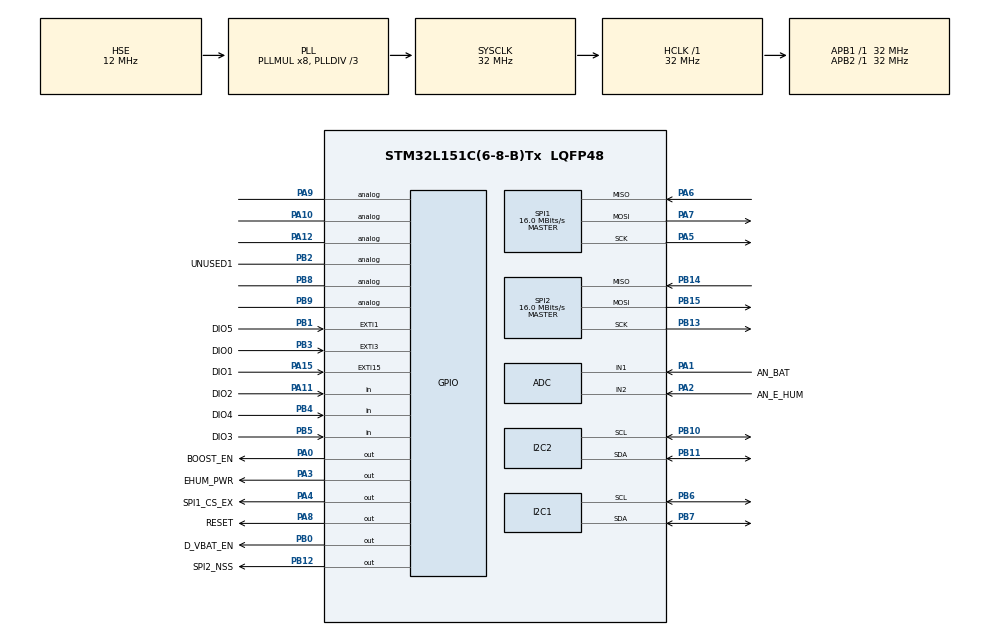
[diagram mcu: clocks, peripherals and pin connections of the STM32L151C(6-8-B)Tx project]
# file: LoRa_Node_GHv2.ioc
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ADC.Channel-0\#ChannelRegularConversion=ADC_CHANNEL_1
ADC.ContinuousConvMode=DISABLE
ADC.NbrOfConversion=1
ADC.NbrOfConversionFlag=1
ADC.Rank-0\#ChannelRegularConversion=1
ADC.SamplingTime-0\#ChannelRegularConversion=ADC_SAMPLETIME_4CYCLES
ADC.ScanConvMode=ADC_SCAN_DISABLE
Mcu.Family=STM32L1
Mcu.Name=STM32L151C(6-8-B)Tx
Mcu.Package=LQFP48
NVIC.ADC1_IRQn=true\:2\:0\:true\:false\:true\:true\:true\:true
NVIC.EXTI1_IRQn=true\:1\:0\:true\:false\:true\:true\:true\:true
NVIC.EXTI3_IRQn=true\:1\:0\:true\:false\:true\:true\:true\:true
NVIC.I2C1_ER_IRQn=true\:0\:0\:false\:false\:true\:true\:true\:true
NVIC.I2C1_EV_IRQn=true\:0\:0\:false\:false\:true\:true\:true\:true
NVIC.I2C2_EV_IRQn=true\:0\:0\:false\:false\:true\:true\:true\:true
NVIC.PriorityGroup=NVIC_PRIORITYGROUP_4
NVIC.RTC_Alarm_IRQn=true\:0\:0\:false\:false\:true\:true\:true\:true
NVIC.TIM2_IRQn=true\:0\:0\:false\:false\:true\:true\:true\:true
NVIC.TIM3_IRQn=true\:0\:0\:false\:false\:true\:true\:true\:true
PA0-WKUP1.GPIO_Label=BOOST_EN
PA0-WKUP1.GPIO_PuPd=GPIO_NOPULL
PA0-WKUP1.Signal=GPIO_Output
PA1.GPIO_Label=AN_BAT
PA1.Mode=IN1
PA1.Signal=ADC_IN1
PA10.Signal=GPIO_Analog
PA11.GPIO_Label=DIO2
PA11.GPIO_PuPd=GPIO_NOPULL
PA11.Signal=GPIO_Input
PA12.Signal=GPIO_Analog
PA13.Mode=Serial_Wire
PA13.Signal=SYS_JTMS-SWDIO
PA14.Mode=Serial_Wire
PA14.Signal=SYS_JTCK-SWCLK
PA15.GPIO_Label=DIO1
PA15.GPIO_PuPd=GPIO_NOPULL
PA15.Signal=GPXTI15
PA2.GPIO_Label=AN_E_HUM
PA2.Mode=IN2
PA2.Signal=ADC_IN2
PA3.GPIO_Label=EHUM_PWR
PA3.Signal=GPIO_Output
PA4.GPIO_Label=SPI1_CS_EX
PA4.PinState=GPIO_PIN_SET
PA4.Signal=GPIO_Output
PA5.Mode=Full_Duplex_Master
PA5.Signal=SPI1_SCK
PA6.Mode=Full_Duplex_Master
PA6.Signal=SPI1_MISO
PA7.Mode=Full_Duplex_Master
PA7.Signal=SPI1_MOSI
PA8.GPIO_Label=RESET
PA8.GPIO_PuPd=GPIO_NOPULL
PA8.Signal=GPIO_Output
PA9.Signal=GPIO_Analog
PB0.GPIO_Label=D_VBAT_EN
PB0.PinState=GPIO_PIN_SET
PB0.Signal=GPIO_Output
PB1.GPIO_Label=DIO5
PB1.GPIO_PuPd=GPIO_NOPULL
PB1.Signal=GPXTI1
PB10.Mode=I2C
PB10.Signal=I2C2_SCL
PB11.Mode=I2C
PB11.Signal=I2C2_SDA
PB12.GPIO_Label=SPI2_NSS
PB12.PinState=GPIO_PIN_SET
PB12.Signal=GPIO_Output
PB13.Mode=Full_Duplex_Master
PB13.Signal=SPI2_SCK
PB14.Mode=Full_Duplex_Master
PB14.Signal=SPI2_MISO
PB15.Mode=Full_Duplex_Master
PB15.Signal=SPI2_MOSI
PB2.GPIO_Label=UNUSED1
PB2.Signal=GPIO_Analog
PB3.GPIO_Label=DIO0
PB3.GPIO_PuPd=GPIO_NOPULL
PB3.Signal=GPXTI3
PB4.GPIO_Label=DIO4
PB4.GPIO_PuPd=GPIO_NOPULL
PB4.Signal=GPIO_Input
PB5.GPIO_Label=DIO3
PB5.GPIO_PuPd=GPIO_NOPULL
PB5.Signal=GPIO_Input
PB6.Mode=I2C
PB6.Signal=I2C1_SCL
PB7.Mode=I2C
PB7.Signal=I2C1_SDA
PB8.Signal=GPIO_Analog
PB9.Signal=GPIO_Analog
PC14-OSC32_IN.Mode=LSE-External-Oscillator
PC14-OSC32_IN.Signal=RCC_OSC32_IN
PC15-OSC32_OUT.Mode=LSE-External-Oscillator
PC15-OSC32_OUT.Signal=RCC_OSC32_OUT
PH0-OSC_IN.Mode=HSE-External-Oscillator
PH0-OSC_IN.Signal=RCC_OSC_IN
PH1-OSC_OUT.Mode=HSE-External-Oscillator
PH1-OSC_OUT.Signal=RCC_OSC_OUT
ProjectManager.HeapSize=0x200
ProjectManager.StackSize=0x400
ProjectManager.TargetToolchain=STM32CubeIDE
RCC.48MHZClocksFreq_Value=48000000
RCC.AHBFreq_Value=32000000
RCC.APB1Freq_Value=32000000
RCC.APB1TimFreq_Value=32000000
RCC.APB2Freq_Value=32000000
RCC.APB2TimFreq_Value=32000000
RCC.HCLKFreq_Value=32000000
RCC.HSE_VALUE=12000000
RCC.HSI_VALUE=16000000
RCC.MSI_VALUE=2097000
RCC.PLLDIV=RCC_PLL_DIV3
RCC.PLLMUL=RCC_PLL_MUL8
RCC.PLLSourceVirtual=RCC_PLLSOURCE_HSE
RCC.RTCClockSelection=RCC_RTCCLKSOURCE_LSE
RCC.RTCClockSelectionVirtual=RCC_RTCCLKSOURCE_LSE
RCC.SYSCLKFreq_VALUE=32000000
RCC.SYSCLKSource=RCC_SYSCLKSOURCE_PLLCLK
RCC.VCOOutputFreq_Value=96000000
RTC.Alarm-Alarm\ A=RTC_ALARM_A
RTC.Format=RTC_FORMAT_BIN
SPI1.BaudRatePrescaler=SPI_BAUDRATEPRESCALER_2
SPI1.CalculateBaudRate=16.0 MBits/s
SPI1.Direction=SPI_DIRECTION_2LINES
SPI1.Mode=SPI_MODE_MASTER
SPI1.VirtualType=VM_MASTER
SPI2.BaudRatePrescaler=SPI_BAUDRATEPRESCALER_2
SPI2.CalculateBaudRate=16.0 MBits/s
SPI2.Direction=SPI_DIRECTION_2LINES
SPI2.Mode=SPI_MODE_MASTER
SPI2.VirtualType=VM_MASTER
TIM2.Period=49999
TIM2.Prescaler=63
TIM3.Period=64515
TIM3.Prescaler=1983
VP_RTC_VS_RTC_Activate.Mode=RTC_Enabled
VP_RTC_VS_RTC_Alarm_A_Intern.Mode=Alarm A
VP_RTC_VS_RTC_Calendar.Mode=RTC_Calendar
VP_TIM2_VS_ClockSourceINT.Mode=Internal
VP_TIM3_VS_ClockSourceINT.Mode=Internal
board=custom

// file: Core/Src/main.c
/* USER CODE BEGIN Header */
/**
  ******************************************************************************
  * @file           : main.c
  * @brief          : Main program body
  ******************************************************************************
  * @attention
  *
  * Copyright (c) 2025 STMicroelectronics.
  * All rights reserved.
  *
  * This software is licensed under terms that can be found in the LICENSE file
  * in the root directory of this software component.
  * If no LICENSE file comes with this software, it is provided AS-IS.
  *
  ******************************************************************************
  */
/* USER CODE END Header */
#include "main.h"

/* USER CODE BEGIN Includes */

#ifdef USE_EEPROM
	#include "eeprom.h"
#else
	#include "flash.h"
#endif

/* USER CODE END Includes */

/* USER CODE BEGIN PD */

BME280 				bme280;
MEASUREMENTS 		measurements;
LORA_Data 			lora_data;
rfm95_handle_t 		rfm95_handle;

RTC_TimeTypeDef 	time;
RTC_DateTypeDef 	date;
RTC_AlarmTypeDef 	sAlarm;

/* USER CODE END PD */

ADC_HandleTypeDef hadc;

I2C_HandleTypeDef hi2c1;
I2C_HandleTypeDef hi2c2;

RTC_HandleTypeDef hrtc;

SPI_HandleTypeDef hspi1;
SPI_HandleTypeDef hspi2;

TIM_HandleTypeDef htim2;
TIM_HandleTypeDef htim3;

void SystemClock_Config(void);
static void MX_GPIO_Init(void);
static void MX_RTC_Init(void);
static void MX_SPI2_Init(void);
static void MX_I2C1_Init(void);
static void MX_I2C2_Init(void);
static void MX_SPI1_Init(void);
static void MX_ADC_Init(void);
static void MX_TIM2_Init(void);
static void MX_TIM3_Init(void);

/* USER CODE BEGIN 0 */

/* VARIABLES */
uint8_t awake = 1;				// Detect wake up event
uint8_t state = STATE_INIT;		// state value for state machine
volatile uint32_t tim3_tick_msb = 0;
volatile uint8_t adc_substate = 0; // 0 = battery next, 1 = soil humidity next

/* MY FUNCTIONS */
void RFM95W_Struct_Init(rfm95_handle_t* rfm95_handle);
static uint8_t random_int(uint8_t max);
static uint32_t get_precision_tick();
void wake_up_from_standby_handler(void);
void HAL_RTC_AlarmAEventCallback(RTC_HandleTypeDef *hrtc);
static void ADC_SelectChannel(uint32_t channel);

/* USER CODE END 0 */

int main(void)
{

  /* MCU Configuration--------------------------------------------------------*/

  /* Reset of all peripherals, Initializes the Flash interface and the Systick. */
  HAL_Init();

  /* Configure the system clock */
  SystemClock_Config();

  /* Initialize all configured peripherals */
  MX_GPIO_Init();
  MX_RTC_Init();
  MX_SPI2_Init();
  MX_I2C1_Init();
  MX_I2C2_Init();
  MX_SPI1_Init();
  MX_ADC_Init();
  MX_TIM2_Init();
  MX_TIM3_Init();
  /* USER CODE BEGIN 2 */

  float delta = 100.0f / (EARTH_HUM_DRY_VAL -  EARTH_HUM_WET_VAL); // Precalculated value
  uint8_t status = 0;
  uint32_t tx_count = 0; // Read number of TX packets from flash

  // Check if the MCU woke up from Standby mode - not mainly used -> not completely tested //
//  	#ifndef SLEEP_MODE_STOP
//  	  if (__HAL_PWR_GET_FLAG(PWR_FLAG_SB)) // Standby flag is set
//  		  {
//  			  // Clear the Standby flag
//  			  __HAL_PWR_CLEAR_FLAG(PWR_FLAG_SB);
//
//  			  // Check if RTC Alarm A triggered the wake-up
//  			  if (__HAL_RTC_ALARM_GET_FLAG(&hrtc, RTC_FLAG_ALRAF) != RESET)
//  			  {
//  				  // Clear the RTC Alarm A flag
//  				  __HAL_RTC_ALARM_CLEAR_FLAG(&hrtc, RTC_FLAG_ALRAF);
//
//  				  // Perform wake-up logic
//  				  wake_up_from_standby_handler();
//  			  }
//  		  }
//  	#endif

  /* USER CODE END 2 */

  /* Infinite loop */
  /* USER CODE BEGIN WHILE */
  while (1)
  {
	  /* MAIN STATE MACHINE */
	  switch(state)
	  {

	  ////////* DEVICE BOOT *////////
	  case STATE_INIT:

		  if (measurements.ADC_read_cnt == 0 && measurements.init_end == 0)
		  {
			  /* BME280 */
			  status += BME280_Reset(&bme280, &hi2c2);
			  HAL_Delay(200);
			  status += BME280_ReadDeviceID(&bme280, &hi2c2);
			  status += BME280_ReadCalibData(&bme280, &hi2c2);
			  status += BME280_Init(&bme280, &hi2c2);

			  // Enable power to humidity probe and to voltage divider for battery measurement
			  HAL_GPIO_WritePin(EHUM_PWR_GPIO_Port, EHUM_PWR_Pin, GPIO_PIN_SET);
			  HAL_GPIO_WritePin(D_VBAT_EN_GPIO_Port, D_VBAT_EN_Pin, GPIO_PIN_RESET);
			  HAL_Delay(100);

			  // Set some pins
			  HAL_GPIO_WritePin(SPI1_CS_EX_GPIO_Port, SPI1_CS_EX_Pin, GPIO_PIN_SET);
			  HAL_GPIO_WritePin(SPI2_NSS_GPIO_Port, SPI2_NSS_Pin, GPIO_PIN_SET);

			  // Disable RTC alarm for init routine
			  __HAL_RTC_ALARM_CLEAR_FLAG(&hrtc, RTC_FLAG_ALRAF);
			  HAL_RTC_DeactivateAlarm(&hrtc, RTC_ALARM_A);

			  HAL_TIM_Base_Start_IT(&htim2);
			  HAL_TIM_Base_Start_IT(&htim3);

			  measurements.init_end = 1;	// Signal init complete
		  }

		  if (measurements.ADC_read_end == 1 && measurements.ADC_read == 1)
		  {
			  // Read analog values
			  measurements.bat_voltage[measurements.ADC_read_cnt] = ADC_Read_Battery(&measurements.ADC_values[0]);
			  measurements.earth_hum[measurements.ADC_read_cnt] = ADC_Read_EHum(&measurements.ADC_values[1], &delta);
			  measurements.ADC_read_cnt ++;

			  measurements.ADC_read_end = 0; 	// reset ADC read flag
			  measurements.ADC_read = 0; 		// reset timer read flag
			  HAL_TIM_Base_Start_IT(&htim2);

			  // Calculate average values
			  if (measurements.ADC_read_cnt == 5)
			  {
				  measurements.ADC_read_cnt = 0;
				  HAL_TIM_Base_Stop_IT(&htim2);

				  // Disable power to humidity probe and to voltage divider for battery measurement
				  HAL_GPIO_WritePin(EHUM_PWR_GPIO_Port, EHUM_PWR_Pin, GPIO_PIN_RESET);
				  HAL_GPIO_WritePin(D_VBAT_EN_GPIO_Port, D_VBAT_EN_Pin, GPIO_PIN_SET);

				  // Calculate average battery voltage
				  measurements.battery_voltage = 0;
				  measurements.earth_humidity = 0;

				  for (int i = 0; i < 5; i++)
				  {
					  measurements.battery_voltage += measurements.bat_voltage[i];
					  measurements.earth_humidity += measurements.earth_hum[i];
				  }

				  measurements.battery_voltage /= 5;
				  measurements.earth_humidity /= 5;

				  // Read all data from BME280 sensor
				  BME280_GoToFromSleep(&bme280, &hi2c2, 1); // wake-up
				  HAL_Delay(100);
				  BME280_ReadAllData(&bme280, &hi2c2);
				  //BME280_GoToFromSleep(&bme280, &hi2c2, 0); // sleep

				  // LoRa module
				  RFM95W_Struct_Init(&rfm95_handle);

				  // Initialise RFM95 module.
				  if (!rfm95_init(&rfm95_handle)) status++;

				  // All that flags must be cleard to get stable boot
				  NVIC_ClearPendingIRQ(EXTI1_IRQn); 		// Clear EXTI1 NVIC pending flag
				  NVIC_ClearPendingIRQ(EXTI3_IRQn); 		// Clear EXTI3 NVIC pending
				  NVIC_ClearPendingIRQ(EXTI15_10_IRQn); 	// Clear EXTI15_10 NVIC pending flag
				  HAL_NVIC_EnableIRQ(EXTI3_IRQn);
				  HAL_NVIC_EnableIRQ(EXTI1_IRQn);
				  //HAL_NVIC_EnableIRQ(EXTI15_10_IRQn); 	// Bricks the program, inturrupt is not needed -> only for RX

				  // Check if everthing is OK (voltage and sensors)
				  if (measurements.battery_voltage < 2.8f) status++; //Vbat NEEDS TO BE SET

				  lora_data.errSendCnt += status;

				  if (status == 0)
				  {
					  //state = STATE_FIRST_CONN;
					  state = STATE_SEND;
					  status = 0;
					  lora_data.errSendCnt = 0;
				  }
				  else
				  {
					  //state = STATE_ERROR;
					  state = STATE_GO_SLEEP;
				  }
			  }
		  }

		  break;

	  ////////* FIRST LoRa/SIM CONNECTION TEST *////////
	  case STATE_FIRST_CONN:

		  // Create data packet that will be send - dummy
		  uint8_t test_data_packet[] = {0x01, 0x02, 0x03, 0x04};

		#ifdef USE_EEPROM
		  EEPROM_Read_Data(FLASH_EEPROM_BASE, &tx_count, 1);
		#else
		  Flash_Read_Data(FLASH_START_ADDR, &tx_count, 1); // 1 = one word
		#endif

		  rfm95_handle.config.tx_frame_count = tx_count;

		  if (!rfm95_send_receive_cycle(&rfm95_handle, test_data_packet, sizeof(test_data_packet)))
		  {
			  // Put device in error state
			  state = STATE_ERROR;
		  }
		  else
		  {
			  // Write number of TX packets to flash
			  uint32_t temp_data = (uint32_t)rfm95_handle.config.tx_frame_count;

			#ifdef USE_EEPROM
			  EEPROM_Write_Data(FLASH_EEPROM_BASE, &temp_data, 1);
			#else
			  Flash_Write_Data(FLASH_START_ADDR, &temp_data, 1); // 1 = one word
			#endif

			  // Put device in sleep
			  state = STATE_GO_SLEEP;

			  // Send data packet
			  //state = STATE_SEND;
		  }

		  break;

	  ////////* DEVICE WAKEUP ROUTINE *////////
	  case STATE_RUN:

		  // Start all clocks
		  if (awake == 1)
		  {
			  awake = 0;
			  SystemClock_Config();
			  HAL_ResumeTick();

			  // Reset wake up flag
			  __HAL_RTC_ALARM_CLEAR_FLAG(&hrtc, RTC_FLAG_ALRAF);
			  HAL_RTC_DeactivateAlarm(&hrtc, RTC_ALARM_A);

			  HAL_TIM_Base_Init(&htim2);
			  HAL_TIM_Base_Init(&htim3);
			  HAL_NVIC_EnableIRQ(TIM2_IRQn); 	// Disable Timer 2 interrupt
			  HAL_NVIC_EnableIRQ(TIM3_IRQn); 	// Disable Timer 3 interrupt

			  // Enable power to humidity probe and to voltage divider for battery measurement
			  HAL_GPIO_WritePin(EHUM_PWR_GPIO_Port, EHUM_PWR_Pin, GPIO_PIN_SET);
			  if (measurements.bat_period_counter >= READ_VBAT_PERIOD) HAL_GPIO_WritePin(D_VBAT_EN_GPIO_Port, D_VBAT_EN_Pin, GPIO_PIN_SET);
			  HAL_Delay(100);

			  HAL_ADC_Init(&hadc);
			  HAL_ADC_Start(&hadc);

		  }

		  if (measurements.ADC_read_cnt == 0)
		  {
			  /* BME280 */
			#ifndef SLEEP_MODE_STOP
			  status += BME280_Reset(&bme280, &hi2c2);
			  HAL_Delay(200);
			  status += BME280_ReadDeviceID(&bme280, &hi2c2);
			  status += BME280_ReadCalibData(&bme280, &hi2c2);
			  status += BME280_Init(&bme280, &hi2c2);
			#endif

			  HAL_TIM_Base_Start_IT(&htim2);
			  HAL_TIM_Base_Start_IT(&htim3);
		  }

		  if (measurements.ADC_read_end == 1 && measurements.ADC_read == 1)
		  {
			  // Read analog values
			  if (measurements.bat_period_counter >= READ_VBAT_PERIOD) measurements.bat_voltage[measurements.ADC_read_cnt] = ADC_Read_Battery(&measurements.ADC_values[0]);
			  measurements.earth_hum[measurements.ADC_read_cnt] = ADC_Read_EHum(&measurements.ADC_values[1], &delta);
			  measurements.ADC_read_cnt ++;

			  measurements.ADC_read_end = 0; 		// reset ADC read flag
			  measurements.ADC_read = 0; 			// reset timer read flag
			  HAL_TIM_Base_Start_IT(&htim2);

			  // Calculate average values
			  if (measurements.ADC_read_cnt == 5)
			  {
				  measurements.ADC_read_cnt = 0;
				  HAL_TIM_Base_Stop_IT(&htim2);

				  // Disable power to humidity probe and to voltage divider for battery measurement
				  HAL_GPIO_WritePin(EHUM_PWR_GPIO_Port, EHUM_PWR_Pin, GPIO_PIN_RESET);
				  if (measurements.bat_period_counter >= READ_VBAT_PERIOD) HAL_GPIO_WritePin(D_VBAT_EN_GPIO_Port, D_VBAT_EN_Pin, GPIO_PIN_RESET);

				  /* Calculate average battery voltage */

				  // Reset values
				  if (measurements.bat_period_counter >= READ_VBAT_PERIOD) measurements.battery_voltage = 0; // Between reads keep the same voltage
				  measurements.earth_humidity = 0;

				  // Sum the measured values
				  for (int i = 0; i < 5; i++)
				  {
					  if (measurements.bat_period_counter >= READ_VBAT_PERIOD) measurements.battery_voltage += measurements.bat_voltage[i];
					  measurements.earth_humidity += measurements.earth_hum[i];
				  }

				  // Calculate average value
				  if (measurements.bat_period_counter >= READ_VBAT_PERIOD) measurements.battery_voltage /= 5;
				  measurements.earth_humidity /= 5;

				  if (measurements.bat_period_counter >= READ_VBAT_PERIOD) measurements.bat_period_counter = 0; // Reset hour counter for battery measurement

				  // Read all data from BME280 sensor
				  BME280_GoToFromSleep(&bme280, &hi2c2, 1); // wake-up
				  HAL_Delay(100);
				  BME280_ReadAllData(&bme280, &hi2c2);
				  //BME280_GoToFromSleep(&bme280, &hi2c2, 0); // sleep

				  // LoRa module
				#ifndef SLEEP_MODE_STOP
				  RFM95W_Struct_Init(&rfm95_handle);

				  // Initialise RFM95 module.
				  if (!rfm95_init(&rfm95_handle)) status += 10; // Increase error counter for 10 to detect LoRa error (data can't be send)

				  // All that flags must be cleard to get stable boot
				  NVIC_ClearPendingIRQ(EXTI1_IRQn); 		// Clear EXTI1 NVIC pending flag
				  NVIC_ClearPendingIRQ(EXTI3_IRQn); 		// Clear EXTI3 NVIC pending
				  NVIC_ClearPendingIRQ(EXTI15_10_IRQn); 	// Clear EXTI15_10 NVIC pending flag
				  __HAL_GPIO_EXTI_CLEAR_IT(DIO0_Pin);
				  __HAL_GPIO_EXTI_CLEAR_IT(DIO5_Pin);
				  HAL_NVIC_EnableIRQ(EXTI3_IRQn);
				  HAL_NVIC_EnableIRQ(EXTI1_IRQn);
				  //HAL_NVIC_EnableIRQ(EXTI15_10_IRQn); 	// Bricks the program, inturrupt is not needed -> only for RX
				#endif

				  // Check if everthing is OK (voltage and sensors)
				  if (measurements.battery_voltage < VBAT_CRYTHICAL) status++; // TODO Vbat NEED TO BE SET

				  lora_data.errSendCnt += status;

				  if (status < 10)
				  {
					  state = STATE_SEND;
				  }
				  else
				  {
					  state = STATE_ERROR;
				  }
			  }
		  }

		  break;

	  ////////* SEND DATA *////////
	  case STATE_SEND:

		  // Collect and change data for sending
		  if (lora_data.errSendCnt > 0) lora_data.error = 1;					// Flag if device is in error
		  lora_data.battery = (uint8_t)(measurements.battery_voltage * 10);		// Battery voltage [3.5V -> 35V, no float]
		  lora_data.air_temperature = (int32_t)(bme280.Temp_C);					// Air temperature [test for negative value]
		  lora_data.air_humidity = (uint8_t)(bme280.Hum_Perc);					// Air humidity in percents [0-100%]
		  lora_data.air_pressure = (uint32_t)(bme280.Press_Pa);					// Air pressure [saved in two uint8_t]
		  lora_data.earth_humudity = (uint8_t)(measurements.earth_humidity);	// Humidity value of earth in percents [0-100%]

		  // Data packet that will be send (modify if needed)
		  uint8_t data_packet[14];

		  data_packet[0] = DEVICE_ID;                              // Device ID number
		  data_packet[1] = lora_data.error;                        // Error flag
		  data_packet[2] = lora_data.errSendCnt;                   // No. of errors
		  data_packet[3] = lora_data.battery;                      // battery voltage

		  // Encode air_temperature (int32_t -> 4 bytes)
		  data_packet[4] = (uint8_t)(lora_data.air_temperature & 0xFF);
		  data_packet[5] = (uint8_t)((lora_data.air_temperature >> 8) & 0xFF);
		  data_packet[6] = (uint8_t)((lora_data.air_temperature >> 16) & 0xFF);
		  data_packet[7] = (uint8_t)((lora_data.air_temperature >> 24) & 0xFF);

		  // Encode air_humidity
		  data_packet[8] = lora_data.air_humidity;

		  // Encode air_pressure (uint32_t -> 4 bytes)
		  data_packet[9] = (uint8_t)(lora_data.air_pressure & 0xFF);
		  data_packet[10] = (uint8_t)((lora_data.air_pressure >> 8) & 0xFF);
		  data_packet[11] = (uint8_t)((lora_data.air_pressure >> 16) & 0xFF);
		  data_packet[12] = (uint8_t)((lora_data.air_pressure >> 24) & 0xFF);

		  // Encode earth_humidity
		  data_packet[13] = lora_data.earth_humudity;

		  // Read number of TX packets from flash
		#ifdef USE_EEPROM
		  EEPROM_Read_Data(FLASH_EEPROM_BASE, &tx_count, 1); // Read from eeprom
		#else
		  Flash_Read_Data(FLASH_START_ADDR, &tx_count, 1); // Read from flash 1 = one word
		#endif

		  rfm95_handle.config.tx_frame_count = tx_count;

		  status = rfm95_send_receive_cycle(&rfm95_handle, data_packet, sizeof(data_packet));

		  if (!status) // test_data_packet
		  {
			  lora_data.errSendCnt++; // Not used
			  state = STATE_GO_SLEEP;
		  }
		  else
		  {
			  // Write number of TX packets to flash
			  uint32_t temp_data = (uint32_t)rfm95_handle.config.tx_frame_count;

			#ifdef USE_EEPROM
			  EEPROM_Write_Data(FLASH_EEPROM_BASE, &temp_data, 1);	// Write to eeprom
			#else
			  Flash_Write_Data(FLASH_START_ADDR, &temp_data, 1); 	// Write to flash 1 = one word
			#endif

			  state = STATE_GO_SLEEP;
		  }

		  // Reset error counter
		  status = 0;
		  lora_data.errSendCnt = 0;

		  break;

	  ////////* PUT DEVICE TO SLEEP *////////
	  case STATE_GO_SLEEP:

		  HAL_RTC_GetTime(&hrtc, &time, RTC_FORMAT_BIN);
		  HAL_RTC_GetDate(&hrtc, &date, RTC_FORMAT_BIN);

		  // Based on defines select sleep period
		#ifdef SLEEP_PERIOD_TEST
		  time.Seconds += 10;
		#endif

		#ifdef SLEEP_PERIOD_ONE_MINUTE
		  time.Minutes += 1;
		#endif

		#ifdef SLEEP_PERIOD_15_MINUTES
		  time.Minutes += 15;
		#endif

		#ifdef SLEEP_PERIOD_HALF_HOUR
		  time.Minutes += 30;
		#endif

		#ifdef SLEEP_PERIOD_ONE_HOUR
		  time.Hours += 1;
		#endif

		#ifdef SLEEP_PERIOD_CUSTOM
		  time.Minutes += SLEEP_PERIOD_CUSTOM;
		#endif

		  if(time.Seconds >= 60)
		  {
			  time.Minutes ++;
			  time.Seconds = 0;
		  }

		  if(time.Minutes >= 60)
		  {
			  time.Hours++;
			  time.Minutes = 0;
		  }

		  if(time.Hours > 23)
		  {
			  time.Hours = 0;
		  }

		  sAlarm.Alarm 					= RTC_ALARM_A;
		  sAlarm.AlarmTime.Hours 		= time.Hours;
		  sAlarm.AlarmTime.Minutes 		= time.Minutes;
		  sAlarm.AlarmTime.Seconds 		= time.Seconds;
		  sAlarm.AlarmMask            	= RTC_ALARMMASK_DATEWEEKDAY; 	// ignore date
		  sAlarm.AlarmDateWeekDaySel  	= RTC_ALARMDATEWEEKDAYSEL_DATE;
		  sAlarm.AlarmDateWeekDay     	= 1;                           	// don’t care
		  sAlarm.Alarm                	= RTC_ALARM_A;

		  HAL_RTC_DeactivateAlarm(&hrtc, RTC_ALARM_A);

		  __HAL_PWR_CLEAR_FLAG(PWR_FLAG_WU);
		  __HAL_RTC_ALARM_CLEAR_FLAG(&hrtc, RTC_FLAG_ALRAF);
		  if (HAL_RTC_SetAlarm_IT(&hrtc, &sAlarm, RTC_FORMAT_BIN) != HAL_OK) Error_Handler();

		  HAL_NVIC_SetPriority(RTC_Alarm_IRQn, 0, 0);
		  HAL_NVIC_EnableIRQ(RTC_Alarm_IRQn);

		  // Put devices and sensors to sleep
		  rfm95_goto_sleep(&rfm95_handle); // If the module is not in sleep mode (it should be)
		  BME280_GoToFromSleep(&bme280, &hi2c2, 0); // If the sensor is not in sleep mode (it should be)

		  // Disable power to humidity probe and to voltage divider for battery measurement
		  HAL_GPIO_WritePin(EHUM_PWR_GPIO_Port, EHUM_PWR_Pin, GPIO_PIN_RESET);
		  HAL_GPIO_WritePin(D_VBAT_EN_GPIO_Port, D_VBAT_EN_Pin, GPIO_PIN_SET);

		  // Set SPI CS pins
		  HAL_GPIO_WritePin(SPI1_CS_EX_GPIO_Port, SPI1_CS_EX_Pin, GPIO_PIN_SET);
		  HAL_GPIO_WritePin(SPI2_NSS_GPIO_Port, SPI2_NSS_Pin, GPIO_PIN_SET);

		  // Stop Timers if they running and disable their interrupts
		  HAL_TIM_Base_Stop_IT(&htim2); // Stop Timer 2
		  HAL_TIM_Base_Stop_IT(&htim3); // Stop Timer 3
		  HAL_NVIC_DisableIRQ(TIM2_IRQn); // Disable Timer 2 interrupt
		  HAL_NVIC_DisableIRQ(TIM3_IRQn); // Disable Timer 3 interrupt

		  HAL_ADC_Stop(&hadc);
		  HAL_ADC_DeInit(&hadc);

		  // Disable IRQs from LoRa module
		  HAL_NVIC_DisableIRQ(EXTI1_IRQn);
		  HAL_NVIC_DisableIRQ(EXTI3_IRQn);
		  NVIC_ClearPendingIRQ(EXTI1_IRQn);
		  NVIC_ClearPendingIRQ(EXTI3_IRQn);
		  __HAL_GPIO_EXTI_CLEAR_IT(DIO0_Pin);
		  __HAL_GPIO_EXTI_CLEAR_IT(DIO5_Pin);

		  // Reconfigure to analog (or input with pull-down) for sleep
		  GPIO_InitTypeDef g = {0};
		  g.Mode = GPIO_MODE_ANALOG;
		  g.Pull = GPIO_NOPULL;
		  g.Speed = GPIO_SPEED_FREQ_LOW;
		  g.Pin = DIO0_Pin | DIO5_Pin;
		  HAL_GPIO_Init(GPIOB, &g);

		  //HAL_SPI_DeInit(&hspi1);
		  //HAL_SPI_DeInit(&hspi2);
		  //HAL_I2C_DeInit(&hi2c1);
		  //HAL_I2C_DeInit(&hi2c2);
		  //HAL_UART_DeInit(&huart1);

		  HAL_PWREx_EnableUltraLowPower();
		  HAL_PWREx_DisableFastWakeUp();
		  HAL_PWR_DisablePVD();
		  HAL_PWR_DisableWakeUpPin(PWR_WAKEUP_PIN1);

		  // Set sleep mode
		#ifdef SLEEP_MODE_STOP
		  SET_BIT(FLASH->ACR, FLASH_ACR_SLEEP_PD);

		  HAL_PWREx_EnableUltraLowPower();
		  HAL_PWREx_DisableFastWakeUp();
		  HAL_PWR_DisablePVD();

		  HAL_DBGMCU_DisableDBGStopMode();
		  HAL_PWR_EnterSTOPMode(PWR_LOWPOWERREGULATOR_ON, PWR_STOPENTRY_WFI); // PWR_MAINREGULATOR_ON

		#endif

		#ifndef SLEEP_MODE_STOP
		  HAL_DBGMCU_DisableDBGStandbyMode();
		  HAL_PWR_EnterSTANDBYMode();
		#endif

		  // Resume clock and ticks
		  SystemClock_Config();
		  HAL_ResumeTick();

		  // Reset wake up flag
		  HAL_RTC_DeactivateAlarm(&hrtc, RTC_ALARM_A);
		  __HAL_RTC_ALARM_CLEAR_FLAG(&hrtc, RTC_FLAG_ALRAF);

		  break;

	  case STATE_ERROR:

		  ////////* INIT ROUTINE FAILED *////////

		  break;

	  default:

		  ////////* UNDEFINED STATE *////////

		  break;

	  }
    /* USER CODE END WHILE */

  }
}

void SystemClock_Config(void)
{
  RCC_OscInitTypeDef RCC_OscInitStruct = {0};
  RCC_ClkInitTypeDef RCC_ClkInitStruct = {0};
  RCC_PeriphCLKInitTypeDef PeriphClkInit = {0};

  /** Configure the main internal regulator output voltage
  */
  __HAL_PWR_VOLTAGESCALING_CONFIG(PWR_REGULATOR_VOLTAGE_SCALE1);

  /** Initializes the RCC Oscillators according to the specified parameters
  * in the RCC_OscInitTypeDef structure.
  */
  RCC_OscInitStruct.OscillatorType = RCC_OSCILLATORTYPE_HSI|RCC_OSCILLATORTYPE_HSE
                              |RCC_OSCILLATORTYPE_LSE;
  RCC_OscInitStruct.HSEState = RCC_HSE_ON;
  RCC_OscInitStruct.LSEState = RCC_LSE_ON;
  RCC_OscInitStruct.HSIState = RCC_HSI_ON;
  RCC_OscInitStruct.HSICalibrationValue = RCC_HSICALIBRATION_DEFAULT;
  RCC_OscInitStruct.PLL.PLLState = RCC_PLL_ON;
  RCC_OscInitStruct.PLL.PLLSource = RCC_PLLSOURCE_HSE;
  RCC_OscInitStruct.PLL.PLLMUL = RCC_PLL_MUL8;
  RCC_OscInitStruct.PLL.PLLDIV = RCC_PLL_DIV3;
  if (HAL_RCC_OscConfig(&RCC_OscInitStruct) != HAL_OK)
  {
    Error_Handler();
  }

  /** Initializes the CPU, AHB and APB buses clocks
  */
  RCC_ClkInitStruct.ClockType = RCC_CLOCKTYPE_HCLK|RCC_CLOCKTYPE_SYSCLK
                              |RCC_CLOCKTYPE_PCLK1|RCC_CLOCKTYPE_PCLK2;
  RCC_ClkInitStruct.SYSCLKSource = RCC_SYSCLKSOURCE_PLLCLK;
  RCC_ClkInitStruct.AHBCLKDivider = RCC_SYSCLK_DIV1;
  RCC_ClkInitStruct.APB1CLKDivider = RCC_HCLK_DIV1;
  RCC_ClkInitStruct.APB2CLKDivider = RCC_HCLK_DIV1;

  if (HAL_RCC_ClockConfig(&RCC_ClkInitStruct, FLASH_LATENCY_1) != HAL_OK)
  {
    Error_Handler();
  }
  PeriphClkInit.PeriphClockSelection = RCC_PERIPHCLK_RTC;
  PeriphClkInit.RTCClockSelection = RCC_RTCCLKSOURCE_LSE;
  if (HAL_RCCEx_PeriphCLKConfig(&PeriphClkInit) != HAL_OK)
  {
    Error_Handler();
  }
}

static void MX_ADC_Init(void)
{

  ADC_ChannelConfTypeDef sConfig = {0};

  /** Configure the global features of the ADC (Clock, Resolution, Data Alignment and number of conversion)
  */
  hadc.Instance = ADC1;
  hadc.Init.ClockPrescaler = ADC_CLOCK_ASYNC_DIV1;
  hadc.Init.Resolution = ADC_RESOLUTION_12B;
  hadc.Init.DataAlign = ADC_DATAALIGN_RIGHT;
  hadc.Init.ScanConvMode = ADC_SCAN_DISABLE;
  hadc.Init.EOCSelection = ADC_EOC_SEQ_CONV;
  hadc.Init.LowPowerAutoWait = ADC_AUTOWAIT_DISABLE;
  hadc.Init.LowPowerAutoPowerOff = ADC_AUTOPOWEROFF_DISABLE;
  hadc.Init.ChannelsBank = ADC_CHANNELS_BANK_A;
  hadc.Init.ContinuousConvMode = DISABLE;
  hadc.Init.NbrOfConversion = 1;
  hadc.Init.DiscontinuousConvMode = DISABLE;
  hadc.Init.ExternalTrigConv = ADC_SOFTWARE_START;
  hadc.Init.ExternalTrigConvEdge = ADC_EXTERNALTRIGCONVEDGE_NONE;
  hadc.Init.DMAContinuousRequests = DISABLE;
  if (HAL_ADC_Init(&hadc) != HAL_OK)
  {
    Error_Handler();
  }

  /** Configure for the selected ADC regular channel its corresponding rank in the sequencer and its sample time.
  */
  sConfig.Channel = ADC_CHANNEL_1;
  sConfig.Rank = ADC_REGULAR_RANK_1;
  sConfig.SamplingTime = ADC_SAMPLETIME_4CYCLES;
  if (HAL_ADC_ConfigChannel(&hadc, &sConfig) != HAL_OK)
  {
    Error_Handler();
  }

}

static void MX_I2C1_Init(void)
{

  hi2c1.Instance = I2C1;
  hi2c1.Init.ClockSpeed = 100000;
  hi2c1.Init.DutyCycle = I2C_DUTYCYCLE_2;
  hi2c1.Init.OwnAddress1 = 0;
  hi2c1.Init.AddressingMode = I2C_ADDRESSINGMODE_7BIT;
  hi2c1.Init.DualAddressMode = I2C_DUALADDRESS_DISABLE;
  hi2c1.Init.OwnAddress2 = 0;
  hi2c1.Init.GeneralCallMode = I2C_GENERALCALL_DISABLE;
  hi2c1.Init.NoStretchMode = I2C_NOSTRETCH_DISABLE;
  if (HAL_I2C_Init(&hi2c1) != HAL_OK)
  {
    Error_Handler();
  }

}

static void MX_I2C2_Init(void)
{

  hi2c2.Instance = I2C2;
  hi2c2.Init.ClockSpeed = 100000;
  hi2c2.Init.DutyCycle = I2C_DUTYCYCLE_2;
  hi2c2.Init.OwnAddress1 = 0;
  hi2c2.Init.AddressingMode = I2C_ADDRESSINGMODE_7BIT;
  hi2c2.Init.DualAddressMode = I2C_DUALADDRESS_DISABLE;
  hi2c2.Init.OwnAddress2 = 0;
  hi2c2.Init.GeneralCallMode = I2C_GENERALCALL_DISABLE;
  hi2c2.Init.NoStretchMode = I2C_NOSTRETCH_DISABLE;
  if (HAL_I2C_Init(&hi2c2) != HAL_OK)
  {
    Error_Handler();
  }

}

static void MX_RTC_Init(void)
{

  RTC_TimeTypeDef sTime = {0};
  RTC_DateTypeDef sDate = {0};
  RTC_AlarmTypeDef sAlarm = {0};

  /** Initialize RTC Only
  */
  hrtc.Instance = RTC;
  hrtc.Init.HourFormat = RTC_HOURFORMAT_24;
  hrtc.Init.AsynchPrediv = 127;
  hrtc.Init.SynchPrediv = 255;
  hrtc.Init.OutPut = RTC_OUTPUT_DISABLE;
  hrtc.Init.OutPutPolarity = RTC_OUTPUT_POLARITY_HIGH;
  hrtc.Init.OutPutType = RTC_OUTPUT_TYPE_OPENDRAIN;
  if (HAL_RTC_Init(&hrtc) != HAL_OK)
  {
    Error_Handler();
  }

  /** Initialize RTC and set the Time and Date
  */
  sTime.Hours = 0;
  sTime.Minutes = 0;
  sTime.Seconds = 0;
  sTime.DayLightSaving = RTC_DAYLIGHTSAVING_NONE;
  sTime.StoreOperation = RTC_STOREOPERATION_RESET;
  if (HAL_RTC_SetTime(&hrtc, &sTime, RTC_FORMAT_BIN) != HAL_OK)
  {
    Error_Handler();
  }
  sDate.WeekDay = RTC_WEEKDAY_MONDAY;
  sDate.Month = RTC_MONTH_JANUARY;
  sDate.Date = 1;
  sDate.Year = 0;

  if (HAL_RTC_SetDate(&hrtc, &sDate, RTC_FORMAT_BIN) != HAL_OK)
  {
    Error_Handler();
  }

  /** Enable the Alarm A
  */
  sAlarm.AlarmTime.Hours = 0;
  sAlarm.AlarmTime.Minutes = 0;
  sAlarm.AlarmTime.Seconds = 0;
  sAlarm.AlarmTime.DayLightSaving = RTC_DAYLIGHTSAVING_NONE;
  sAlarm.AlarmTime.StoreOperation = RTC_STOREOPERATION_RESET;
  sAlarm.AlarmMask = RTC_ALARMMASK_NONE;
  sAlarm.AlarmDateWeekDaySel = RTC_ALARMDATEWEEKDAYSEL_DATE;
  sAlarm.AlarmDateWeekDay = 1;
  sAlarm.Alarm = RTC_ALARM_A;
  if (HAL_RTC_SetAlarm_IT(&hrtc, &sAlarm, RTC_FORMAT_BIN) != HAL_OK)
  {
    Error_Handler();
  }

}

static void MX_SPI1_Init(void)
{

  /* SPI1 parameter configuration*/
  hspi1.Instance = SPI1;
  hspi1.Init.Mode = SPI_MODE_MASTER;
  hspi1.Init.Direction = SPI_DIRECTION_2LINES;
  hspi1.Init.DataSize = SPI_DATASIZE_8BIT;
  hspi1.Init.CLKPolarity = SPI_POLARITY_LOW;
  hspi1.Init.CLKPhase = SPI_PHASE_1EDGE;
  hspi1.Init.NSS = SPI_NSS_SOFT;
  hspi1.Init.BaudRatePrescaler = SPI_BAUDRATEPRESCALER_2;
  hspi1.Init.CRCCalculation = SPI_CRCCALCULATION_DISABLE;
  hspi1.Init.CRCPolynomial = 10;
  if (HAL_SPI_Init(&hspi1) != HAL_OK)
  {
    Error_Handler();
  }

}

static void MX_SPI2_Init(void)
{

  /* SPI2 parameter configuration*/
  hspi2.Instance = SPI2;
  hspi2.Init.Mode = SPI_MODE_MASTER;
  hspi2.Init.Direction = SPI_DIRECTION_2LINES;
  hspi2.Init.DataSize = SPI_DATASIZE_8BIT;
  hspi2.Init.CLKPolarity = SPI_POLARITY_LOW;
  hspi2.Init.CLKPhase = SPI_PHASE_1EDGE;
  hspi2.Init.NSS = SPI_NSS_SOFT;
  hspi2.Init.BaudRatePrescaler = SPI_BAUDRATEPRESCALER_2;
  hspi2.Init.CRCCalculation = SPI_CRCCALCULATION_DISABLE;
  hspi2.Init.CRCPolynomial = 10;
  if (HAL_SPI_Init(&hspi2) != HAL_OK)
  {
    Error_Handler();
  }

}

static void MX_TIM2_Init(void)
{

  TIM_ClockConfigTypeDef sClockSourceConfig = {0};
  TIM_MasterConfigTypeDef sMasterConfig = {0};

  htim2.Instance = TIM2;
  htim2.Init.Prescaler = 63;
  htim2.Init.CounterMode = TIM_COUNTERMODE_UP;
  htim2.Init.Period = 49999;
  htim2.Init.ClockDivision = TIM_CLOCKDIVISION_DIV1;
  htim2.Init.AutoReloadPreload = TIM_AUTORELOAD_PRELOAD_DISABLE;
  if (HAL_TIM_Base_Init(&htim2) != HAL_OK)
  {
    Error_Handler();
  }
  sClockSourceConfig.ClockSource = TIM_CLOCKSOURCE_INTERNAL;
  if (HAL_TIM_ConfigClockSource(&htim2, &sClockSourceConfig) != HAL_OK)
  {
    Error_Handler();
  }
  sMasterConfig.MasterOutputTrigger = TIM_TRGO_RESET;
  sMasterConfig.MasterSlaveMode = TIM_MASTERSLAVEMODE_DISABLE;
  if (HAL_TIMEx_MasterConfigSynchronization(&htim2, &sMasterConfig) != HAL_OK)
  {
    Error_Handler();
  }

}

static void MX_TIM3_Init(void)
{

  TIM_ClockConfigTypeDef sClockSourceConfig = {0};
  TIM_MasterConfigTypeDef sMasterConfig = {0};

  htim3.Instance = TIM3;
  htim3.Init.Prescaler = 1983;
  htim3.Init.CounterMode = TIM_COUNTERMODE_UP;
  htim3.Init.Period = 64515;
  htim3.Init.ClockDivision = TIM_CLOCKDIVISION_DIV1;
  htim3.Init.AutoReloadPreload = TIM_AUTORELOAD_PRELOAD_DISABLE;
  if (HAL_TIM_Base_Init(&htim3) != HAL_OK)
  {
    Error_Handler();
  }
  sClockSourceConfig.ClockSource = TIM_CLOCKSOURCE_INTERNAL;
  if (HAL_TIM_ConfigClockSource(&htim3, &sClockSourceConfig) != HAL_OK)
  {
    Error_Handler();
  }
  sMasterConfig.MasterOutputTrigger = TIM_TRGO_RESET;
  sMasterConfig.MasterSlaveMode = TIM_MASTERSLAVEMODE_DISABLE;
  if (HAL_TIMEx_MasterConfigSynchronization(&htim3, &sMasterConfig) != HAL_OK)
  {
    Error_Handler();
  }

}

static void MX_GPIO_Init(void)
{
  GPIO_InitTypeDef GPIO_InitStruct = {0};

  /* GPIO Ports Clock Enable */
  __HAL_RCC_GPIOC_CLK_ENABLE();
  __HAL_RCC_GPIOH_CLK_ENABLE();
  __HAL_RCC_GPIOA_CLK_ENABLE();
  __HAL_RCC_GPIOB_CLK_ENABLE();

  /*Configure GPIO pin Output Level */
  HAL_GPIO_WritePin(GPIOA, BOOST_EN_Pin|EHUM_PWR_Pin|RESET_Pin, GPIO_PIN_RESET);

  /*Configure GPIO pin Output Level */
  HAL_GPIO_WritePin(SPI1_CS_EX_GPIO_Port, SPI1_CS_EX_Pin, GPIO_PIN_SET);

  /*Configure GPIO pin Output Level */
  HAL_GPIO_WritePin(GPIOB, D_VBAT_EN_Pin|SPI2_NSS_Pin, GPIO_PIN_SET);

  /*Configure GPIO pins : BOOST_EN_Pin EHUM_PWR_Pin SPI1_CS_EX_Pin RESET_Pin */
  GPIO_InitStruct.Pin = BOOST_EN_Pin|EHUM_PWR_Pin|SPI1_CS_EX_Pin|RESET_Pin;
  GPIO_InitStruct.Mode = GPIO_MODE_OUTPUT_PP;
  GPIO_InitStruct.Pull = GPIO_NOPULL;
  GPIO_InitStruct.Speed = GPIO_SPEED_FREQ_LOW;
  HAL_GPIO_Init(GPIOA, &GPIO_InitStruct);

  /*Configure GPIO pins : D_VBAT_EN_Pin SPI2_NSS_Pin */
  GPIO_InitStruct.Pin = D_VBAT_EN_Pin|SPI2_NSS_Pin;
  GPIO_InitStruct.Mode = GPIO_MODE_OUTPUT_PP;
  GPIO_InitStruct.Pull = GPIO_NOPULL;
  GPIO_InitStruct.Speed = GPIO_SPEED_FREQ_LOW;
  HAL_GPIO_Init(GPIOB, &GPIO_InitStruct);

  /*Configure GPIO pins : DIO5_Pin DIO0_Pin */
  GPIO_InitStruct.Pin = DIO5_Pin|DIO0_Pin;
  GPIO_InitStruct.Mode = GPIO_MODE_IT_RISING;
  GPIO_InitStruct.Pull = GPIO_NOPULL;
  HAL_GPIO_Init(GPIOB, &GPIO_InitStruct);

  /*Configure GPIO pins : UNUSED1_Pin PB8 PB9 */
  GPIO_InitStruct.Pin = UNUSED1_Pin|GPIO_PIN_8|GPIO_PIN_9;
  GPIO_InitStruct.Mode = GPIO_MODE_ANALOG;
  GPIO_InitStruct.Pull = GPIO_NOPULL;
  HAL_GPIO_Init(GPIOB, &GPIO_InitStruct);

  /*Configure GPIO pins : PA9 PA10 PA12 */
  GPIO_InitStruct.Pin = GPIO_PIN_9|GPIO_PIN_10|GPIO_PIN_12;
  GPIO_InitStruct.Mode = GPIO_MODE_ANALOG;
  GPIO_InitStruct.Pull = GPIO_NOPULL;
  HAL_GPIO_Init(GPIOA, &GPIO_InitStruct);

  /*Configure GPIO pin : DIO2_Pin */
  GPIO_InitStruct.Pin = DIO2_Pin;
  GPIO_InitStruct.Mode = GPIO_MODE_INPUT;
  GPIO_InitStruct.Pull = GPIO_NOPULL;
  HAL_GPIO_Init(DIO2_GPIO_Port, &GPIO_InitStruct);

  /*Configure GPIO pin : DIO1_Pin */
  GPIO_InitStruct.Pin = DIO1_Pin;
  GPIO_InitStruct.Mode = GPIO_MODE_IT_RISING;
  GPIO_InitStruct.Pull = GPIO_NOPULL;
  HAL_GPIO_Init(DIO1_GPIO_Port, &GPIO_InitStruct);

  /*Configure GPIO pins : DIO4_Pin DIO3_Pin */
  GPIO_InitStruct.Pin = DIO4_Pin|DIO3_Pin;
  GPIO_InitStruct.Mode = GPIO_MODE_INPUT;
  GPIO_InitStruct.Pull = GPIO_NOPULL;
  HAL_GPIO_Init(GPIOB, &GPIO_InitStruct);

  /* EXTI interrupt init*/
  HAL_NVIC_SetPriority(EXTI1_IRQn, 1, 0);
  //HAL_NVIC_EnableIRQ(EXTI1_IRQn);

  HAL_NVIC_SetPriority(EXTI3_IRQn, 1, 0);
  //HAL_NVIC_EnableIRQ(EXTI3_IRQn);

  /* USER CODE BEGIN MX_GPIO_Init_2 */

  // ^^^^^^^^ COMMENT ALL IRQ ENABLE WRITEN BY IDE ^^^^^^^^
  // Manual setup IRQs - interrupt signal already at startup
  HAL_NVIC_SetPriority(EXTI1_IRQn, 1, 0);
  HAL_NVIC_SetPriority(EXTI3_IRQn, 1, 1); // 1,0
  HAL_NVIC_DisableIRQ(EXTI3_IRQn);
  HAL_NVIC_DisableIRQ(EXTI1_IRQn);

  /* USER CODE END MX_GPIO_Init_2 */
}

/* USER CODE BEGIN 4 */
// Wake up interrupt - STOP mode //
void HAL_RTC_AlarmAEventCallback(RTC_HandleTypeDef *hrtc)
{
	awake = 1;
	if (state != STATE_INIT) state = STATE_RUN;
}

// Wake up interrupt - STANDBY mode //
void wake_up_from_standby_handler(void)
{
    awake = 1;
	state = STATE_RUN;
}

// TIMER Interrupt //
void HAL_TIM_PeriodElapsedCallback (TIM_HandleTypeDef * htim)
{
	/* TIMER 2 - 10Hz (Read sensors to average their values) */
	if (htim->Instance == TIM2)
	{
		if (measurements.ADC_read == 0)
		{
			HAL_TIM_Base_Stop_IT(&htim2);
			adc_substate = 0;                  // start with battery in this cycle
			ADC_SelectChannel(ADC_CHANNEL_1);  // PA1 (AN_BAT)
			HAL_ADC_Start_IT(&hadc);
			measurements.ADC_read = 1;
		}
	}

	if (htim->Instance == TIM3)
	{
		tim3_tick_msb += 0x10000; // Increment the MSB by 0x10000 each time TIM2 overflows
		HAL_TIM_Base_Start_IT(&htim3);
	}
}

// ADC interrupt
void HAL_ADC_ConvCpltCallback(ADC_HandleTypeDef* hadc)
{
    if (hadc->Instance == ADC1)
    {
    	if (adc_substate == 0)
		{
			// 1. conversion: BATTERY
			measurements.ADC_values[0] = HAL_ADC_GetValue(hadc);

			// 2. conversion: SOIL HUMIDITY
			adc_substate = 1;
			ADC_SelectChannel(ADC_CHANNEL_2);
			HAL_ADC_Start_IT(hadc);
			return;
		}
		else
		{
			// 2nd conversion: HUMIDITY
			measurements.ADC_values[1] = HAL_ADC_GetValue(hadc);

			HAL_ADC_Stop_IT(hadc);
			measurements.ADC_read_end = 1;
			adc_substate = 0;
		}
    }
}

// Switch between channels of ADC
static void ADC_SelectChannel(uint32_t channel)
{
    ADC_ChannelConfTypeDef sConfig = {0};
    sConfig.Channel      = channel;                 // ADC_CHANNEL_1 or _2
    sConfig.Rank         = ADC_REGULAR_RANK_1;
    sConfig.SamplingTime = ADC_SAMPLETIME_4CYCLES;
    HAL_ADC_ConfigChannel(&hadc, &sConfig);
}

// Read battery voltage //
float ADC_Read_Battery(uint32_t* ADC_value)
{
	// If LDO is used to power the board
#ifdef LDO_USE
	float Vout = ((float)(*ADC_value * LDO_OUT_U)) / 4095;
	float voltage = ((BAT_R1 + BAT_R2) * (Vout / BAT_R2));
	return (float) voltage;
#endif

	// If board is directly powered from battery
#ifndef LDO_USE
	float Vout = ((float)(*ADC_value * BAT_U)) / 4095;
	float voltage = ((BAT_R1 + BAT_R2) * (Vout / BAT_R2));
	return (float) voltage;
#endif
}

// EFM95W module //
void RFM95W_Struct_Init(rfm95_handle_t* rfm95_handle)
{
		rfm95_handle->spi_handle = &hspi2;
		rfm95_handle->nss_port = SPI2_NSS_GPIO_Port;
		rfm95_handle->nss_pin = SPI2_NSS_Pin;
		rfm95_handle->nrst_port = RESET_GPIO_Port;
		rfm95_handle->nrst_pin = RESET_Pin;

		rfm95_handle->precision_tick_frequency = 32768;
		rfm95_handle->precision_tick_drift_ns_per_s = 5000;
		rfm95_handle->receive_mode = RFM95_RECEIVE_MODE_NONE;
		rfm95_handle->get_precision_tick = get_precision_tick;
		//rfm95_handle->precision_sleep_until = precision_sleep_until;
		rfm95_handle->random_int = random_int;

		uint8_t address[] = DEVICE_ADDRESS;
		memcpy(rfm95_handle->device_address, address, sizeof(address));

		uint8_t sKey[] = APPSKEY;
		memcpy(rfm95_handle->application_session_key, sKey, sizeof(sKey));

		uint8_t nKey[] = NWKSKEY;
		memcpy(rfm95_handle->network_session_key, nKey, sizeof(nKey));
}

void HAL_GPIO_EXTI_Callback(uint16_t GPIO_Pin)
{
	//__disable_irq();
    if (GPIO_Pin == DIO0_Pin) {
        rfm95_on_interrupt(&rfm95_handle, RFM95_INTERRUPT_DIO0);
    } else if (GPIO_Pin == DIO1_Pin) {
        rfm95_on_interrupt(&rfm95_handle, RFM95_INTERRUPT_DIO1);
    } else if (GPIO_Pin == DIO5_Pin) {
        rfm95_on_interrupt(&rfm95_handle, RFM95_INTERRUPT_DIO5);
    } else {
		__HAL_GPIO_EXTI_CLEAR_IT(GPIO_Pin); // Clear any unexpected interrupt
    }
    __HAL_GPIO_EXTI_CLEAR_IT(GPIO_Pin); // Clear the flag
    //__enable_irq();
}

static uint8_t random_int(uint8_t max)
{
    return (uint8_t)(measurements.ADC_values[0] & 0x000f); // Use ADC other means of obtaining a random number.
}

static uint32_t get_precision_tick()
{
    __disable_irq(); 		// Disable interrupts to ensure atomic access to tick variables
    uint32_t precision_tick = tim3_tick_msb | __HAL_TIM_GET_COUNTER(&htim3);
    __enable_irq(); 		// Re-enable interrupts
    return precision_tick;
}

// Read humidity in ground //
uint8_t ADC_Read_EHum(uint32_t* ADC_value, float* delta)
{
	//uint8_t humidity = (uint16_t)round(*ADC_value - EARTH_HUM_WET_VAL) * (*delta);
	float val = (uint16_t)round(EARTH_HUM_DRY_VAL - *ADC_value);
	uint8_t humidity = (uint8_t)round(val * (*delta));
	return humidity;
}

/* USER CODE END 4 */

void Error_Handler(void)
{
  __disable_irq();
  while (1)
  {
  }
}
